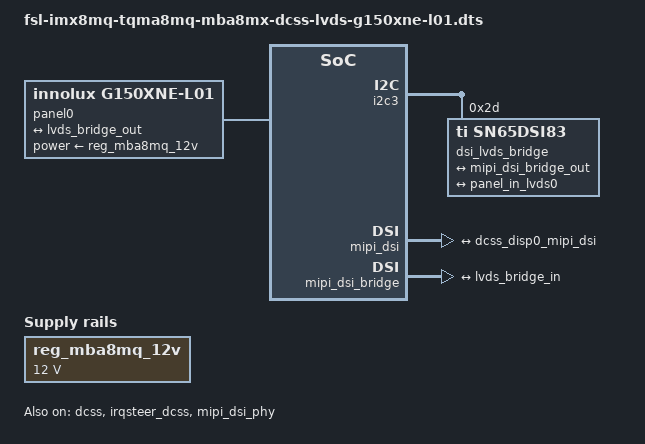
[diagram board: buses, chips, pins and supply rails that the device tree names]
/*
 * Copyright 2019 TQ Systems GmbH
 *
 * This program is free software; you can redistribute it and/or
 * modify it under the terms of the GNU General Public License
 * as published by the Free Software Foundation; either version 2
 * of the License, or (at your option) any later version.
 *
 * This program is distributed in the hope that it will be useful,
 * but WITHOUT ANY WARRANTY; without even the implied warranty of
 * MERCHANTABILITY or FITNESS FOR A PARTICULAR PURPOSE.  See the
 * GNU General Public License for more details.
 */

#include "fsl-imx8mq-tqma8mq-mba8mx.dts"

/ {
	display-subsystem {
		status = "okay";
	};

	sound-hdmi {
		status = "disabled";
	};

	panel0: panel_lvds0 {
		compatible = "innolux,g150xne-l01";
		power-supply = <&reg_mba8mq_12v>;
		status = "okay";

		port {
			panel_in_lvds0: endpoint {
				remote-endpoint = <&lvds_bridge_out>;
			};
		};
	};

	reg_mba8mq_12v: mba8mq_12v {
		compatible = "regulator-fixed";
		regulator-name = "MBA8MQ_12V";
		regulator-min-microvolt = <12000000>;
		regulator-max-microvolt = <12000000>;
		regulator-always-on;
		status = "okay";
	};
};

&dcss {
	status = "okay";
	disp-dev = "mipi_disp";

	clocks = <&clk IMX8MQ_CLK_DISP_APB_ROOT>,
		 <&clk IMX8MQ_CLK_DISP_AXI_ROOT>,
		 <&clk IMX8MQ_CLK_DISP_RTRM_ROOT>,
		 <&clk IMX8MQ_CLK_DC_PIXEL>,
		 <&clk IMX8MQ_CLK_DISP_DTRC>,
		 <&clk IMX8MQ_VIDEO_PLL1>,
		 <&clk IMX8MQ_CLK_27M>,
		 <&clk IMX8MQ_CLK_25M>;
	clock-names = "apb", "axi", "rtrm", "pix", "dtrc", "pll",
		      "pll_src1", "pll_src2";

	assigned-clocks = <&clk IMX8MQ_CLK_DC_PIXEL>,
			  <&clk IMX8MQ_CLK_DISP_AXI>,
			  <&clk IMX8MQ_CLK_DISP_RTRM>;
	assigned-clock-parents = <&clk IMX8MQ_VIDEO_PLL1_OUT>,
				 <&clk IMX8MQ_SYS1_PLL_800M>,
				 <&clk IMX8MQ_SYS1_PLL_800M>;
	assigned-clock-rates = <600000000>,
			       <800000000>,
			       <400000000>;

	dcss_disp0: port@0 {
		reg = <0>;

		dcss_disp0_mipi_dsi: mipi_dsi {
			remote-endpoint = <&mipi_dsi_in>;
		};
	};
};

&ecspi2 {
	status = "disabled";
};

/* input port of HDMI, linked to dcss in CPU tree */
/delete-node/ &hdmi_disp;
/* output port of DCSS, need to overwrite */
/delete-node/ &dcss_disp0_hdmi;

&hdmi {
	status = "disabled";
};

&iomuxc {
	imx8mq-mba8mx {
		pinctrl_gpiobl: gpioblgrp {
			fsl,pins = <
				MX8MQ_IOMUXC_ECSPI2_MISO_GPIO5_IO12	0x16
			>;
		};
	};
};

&i2c3 {
	dsi_lvds_bridge: sn65dsi84@2d {
		compatible = "ti,sn65dsi83";
		reg = <0x2d>;
		ti,dsi-lanes = <4>;
		ti,lvds-format = <1>;
		ti,lvds-bpp = <24>;
		ti,width-mm = <306>;
		ti,height-mm = <230>;
		status = "okay";

		ports {
			#address-cells = <1>;
			#size-cells = <0>;

			port@0 {
				reg = <0>;

				lvds_bridge_in: endpoint {
					remote-endpoint = <&mipi_dsi_bridge_out>;
				};
			};

			port@1 {
				reg = <1>;

				lvds_bridge_out: endpoint {
					remote-endpoint = <&panel_in_lvds0>;
				};
			};
		};
	};
};

&irqsteer_dcss {
	status = "okay";
};

&lcdif {
	status = "disabled";
};

&mipi_dsi {
	status = "okay";

	port@1 {
		mipi_dsi_in: endpoint {
			remote-endpoint = <&dcss_disp0_mipi_dsi>;
		};
	};

};

&mipi_dsi_bridge {
	status = "okay";

	port@1 {
		mipi_dsi_bridge_out: endpoint {
			remote-endpoint = <&lvds_bridge_in>;
		};
	};
};

&mipi_dsi_phy {
	status = "okay";
};
